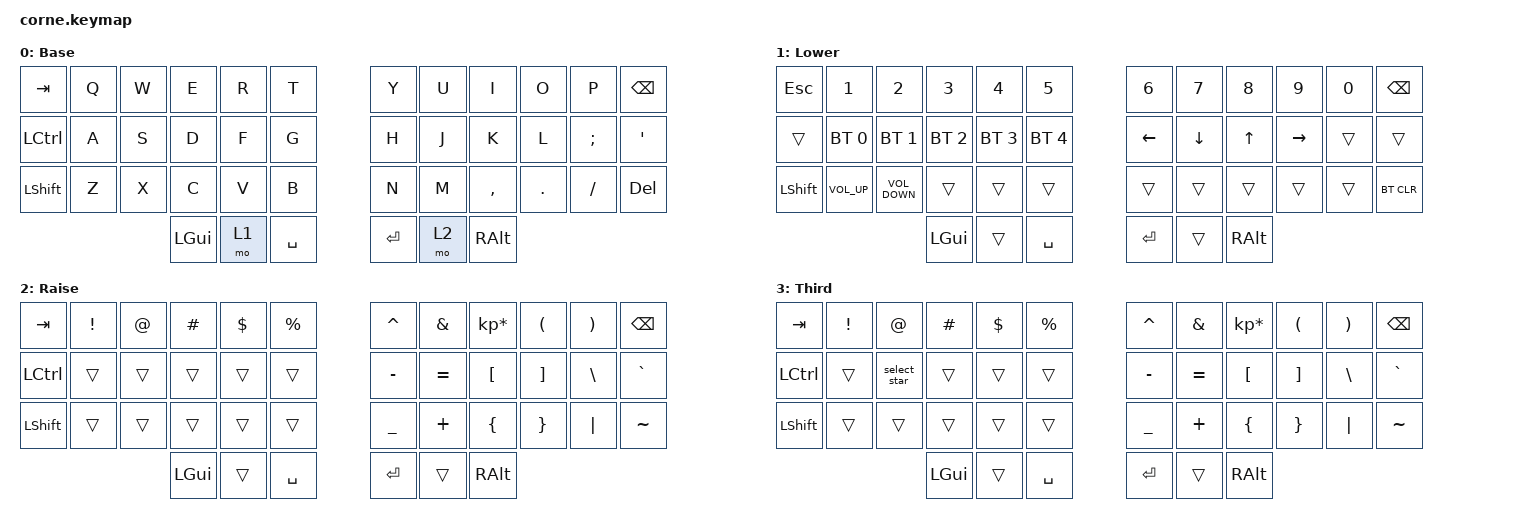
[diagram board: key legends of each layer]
/*
 * Copyright (c) 2020 The ZMK Contributors
 *
 * SPDX-License-Identifier: MIT
 */

#include <behaviors.dtsi>
#include <dt-bindings/zmk/keys.h>
#include <dt-bindings/zmk/bt.h>

/ {

macros {
        select_star: select_star {
            compatible = "zmk,behavior-macro";
            #binding-cells = <0>;
            wait-ms = <40>;
            tap-ms = <40>;
            bindings
                = <&macro_tap &kp S &kp &kp E &kp L &kp E &kp C &kp T>
                , <&macro_press &kp LSHIFT>
                , <&macro_tap &kp NUM_8> 
                , <&macro_release &kp LSHIFT>
                , <&macro_tap &kp F &kp R &kp O &kp M>
                ;
        };
    };
        conditional_layers {
        compatible = "zmk,conditional-layers";
        tri_layer {
            if-layers = <1 2>;
            then-layer = <3>;
        };
    };
        keymap {
                compatible = "zmk,keymap";

                default_layer {
// -----------------------------------------------------------------------------------------
// |  TAB |  Q  |  W  |  E  |  R  |  T  |   |  Y  |  U   |  I  |  O  |  P  | BKSP |
// | CTRL |  A  |  S  |  D  |  F  |  G  |   |  H  |  J   |  K  |  L  |  ;  |  '   |
// | SHFT |  Z  |  X  |  C  |  V  |  B  |   |  N  |  M   |  ,  |  .  |  /  | ESC  |
//                    | GUI | LWR | SPC |   | ENT | RSE  | ALT |
                        display-name = "Base";
                        bindings = <
   &kp TAB   &kp Q &kp W &kp E &kp R &kp T   &kp Y &kp U  &kp I     &kp O   &kp P    &kp BSPC
   &kp LCTRL &kp A &kp S &kp D &kp F &kp G   &kp H &kp J  &kp K     &kp L   &kp SEMI &kp SQT
   &kp LSHFT &kp Z &kp X &kp C &kp V &kp B   &kp N &kp M  &kp COMMA &kp DOT &kp FSLH &kp DEL
                  &kp LGUI &mo 1 &kp SPACE   &kp RET &mo 2 &kp RALT
                        >;
                };
                lower_layer {
// -----------------------------------------------------------------------------------------
// |  TAB |  1  |  2  |  3  |  4  |  5  |   |  6  |  7  |  8  |  9  |  0  | BKSP |
// | BTCLR| BT1 | BT2 | BT3 | BT4 | BT5 |   | LFT | DWN |  UP | RGT |     |      |
// | SHFT |     |     |     |     |     |   |     |     |     |     |     |      |
//                    | GUI |     | SPC |   | ENT |     | ALT |
                        display-name = "Lower";
                        bindings = <
   &kp ESC    &kp N1       &kp N2       &kp N3       &kp N4       &kp N5         &kp N6   &kp N7   &kp N8 &kp N9    &kp N0 &kp BSPC
   &trans &bt BT_SEL 0 &bt BT_SEL 1 &bt BT_SEL 2 &bt BT_SEL 3 &bt BT_SEL 4   &kp LEFT &kp DOWN &kp UP &kp RIGHT &trans &trans
   &kp LSHFT  &kp C_VOLUME_UP       &kp C_VOLUME_DOWN       &trans       &trans       &trans         &trans   &trans   &trans &trans    &trans &bt BT_CLR
                          	        &kp LGUI     &trans       &kp SPACE      &kp RET  &trans   &kp RALT
                        >;
                };

                raise_layer {
// -----------------------------------------------------------------------------------------
// |  TAB |  !  |  @  |  #  |  $  |  %  |   |  ^  |  &  |  *  |  (  |  )  | BKSP |
// | CTRL |     |     |     |     |     |   |  -  |  =  |  [  |  ]  |  \  |  `   |
// | SHFT |     |     |     |     |     |   |  _  |  +  |  {  |  }  | "|" |  ~   |
//                    | GUI |     | SPC |   | ENT |     | ALT |
                        display-name = "Raise";
                        bindings = <
   &kp  TAB  &kp EXCL &kp AT &kp HASH &kp DLLR &kp PRCNT   &kp CARET &kp AMPS  &kp KP_MULTIPLY &kp LPAR &kp RPAR &kp BSPC
   &kp LCTRL &trans   &trans &trans   &trans   &trans      &kp MINUS &kp EQUAL &kp LBKT        &kp RBKT &kp BSLH &kp GRAVE
   &kp LSHFT &trans   &trans &trans   &trans   &trans      &kp UNDER &kp PLUS  &kp LBRC        &kp RBRC &kp PIPE &kp TILDE
                    	     &kp LGUI &trans   &kp SPACE   &kp RET   &trans    &kp RALT
                        >;
                };

                 third_layer {
// -----------------------------------------------------------------------------------------
// |  TAB |  !  |  @  |  #  |  $  |  %  |   |  ^  |  &  |  *  |  (  |  )  | BKSP |
// | CTRL |     |     |     |     |     |   |  -  |  =  |  [  |  ]  |  \  |  `   |
// | SHFT |     |     |     |     |     |   |  _  |  +  |  {  |  }  | "|" |  ~   |
//                    | GUI |     | SPC |   | ENT |     | ALT |
                        display-name = "Third";
                        bindings = <
   &kp  TAB  &kp EXCL &kp AT &kp HASH &kp DLLR &kp PRCNT   &kp CARET &kp AMPS  &kp KP_MULTIPLY &kp LPAR &kp RPAR &kp BSPC
   &kp LCTRL &trans   &select_star &trans   &trans   &trans      &kp MINUS &kp EQUAL &kp LBKT        &kp RBKT &kp BSLH &kp GRAVE
   &kp LSHFT &trans   &trans &trans   &trans   &trans      &kp UNDER &kp PLUS  &kp LBRC        &kp RBRC &kp PIPE &kp TILDE
                    	     &kp LGUI &trans   &kp SPACE   &kp RET   &trans    &kp RALT
                        >;
                };
        };
};
